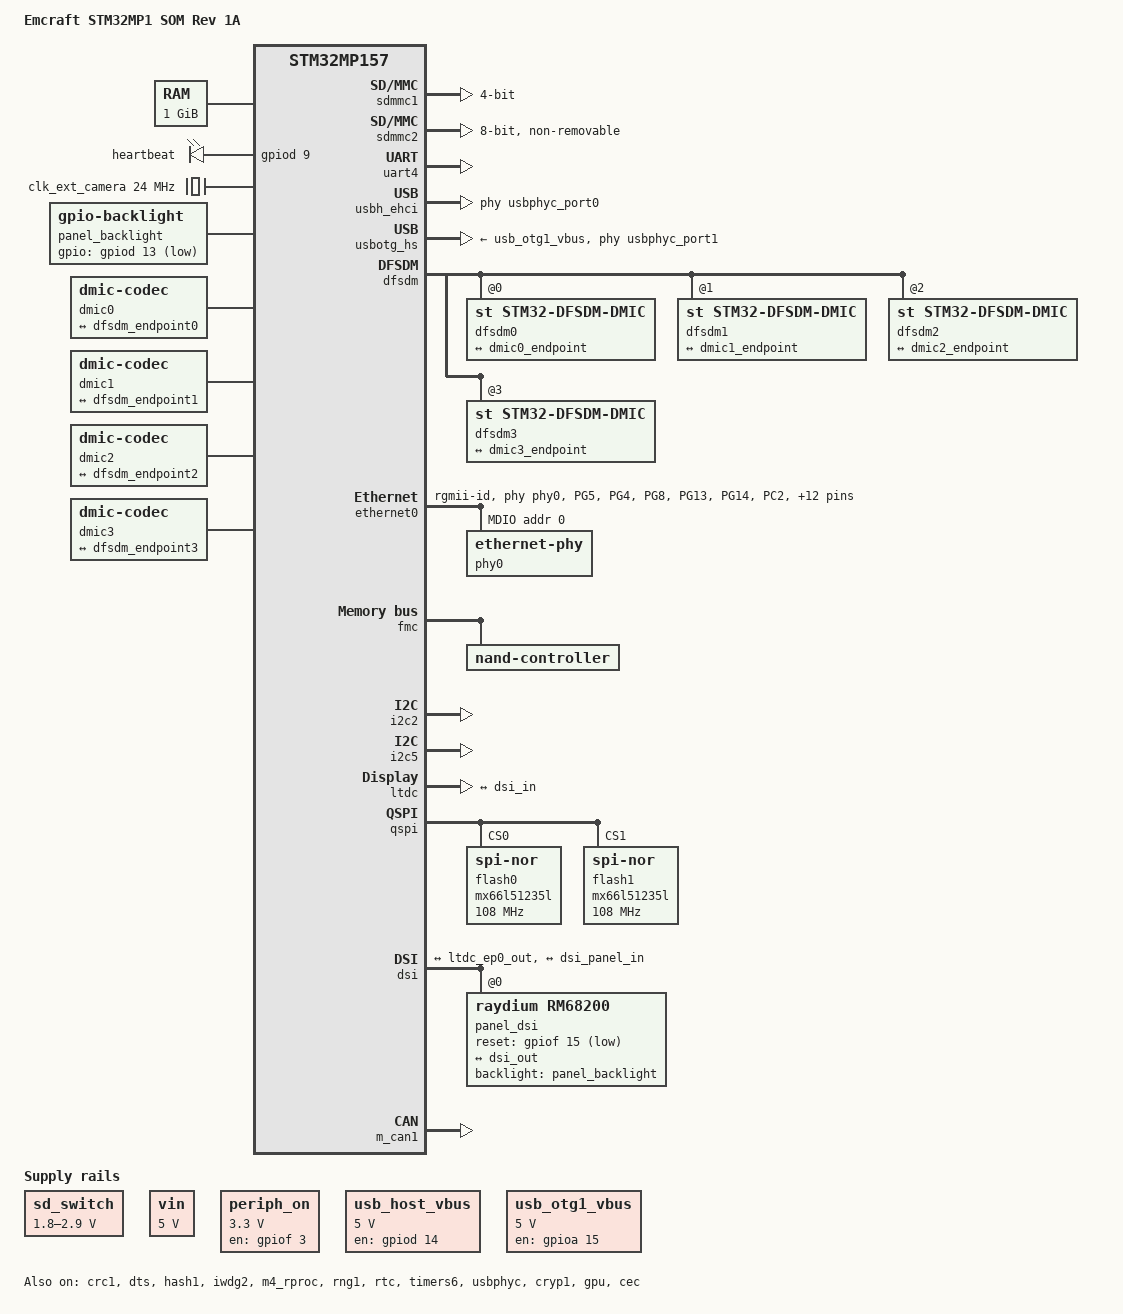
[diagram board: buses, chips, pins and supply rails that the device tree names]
// SPDX-License-Identifier: (GPL-2.0+ OR BSD-3-Clause)
/*
 * Copyright (C) STMicroelectronics 2019 - All Rights Reserved
 * Author: Alexandre Torgue <alexandre.torgue@st.com> for STMicroelectronics.
 */
/dts-v1/;

#include "stm32mp157.dtsi"
#include "stm32mp15xc.dtsi"
#include "stm32mp15-pinctrl.dtsi"
#include "stm32mp15xxaa-pinctrl.dtsi"
#include "stm32mp157-m4-srm.dtsi"
#include "stm32mp157-m4-srm-pinctrl.dtsi"
#include <dt-bindings/gpio/gpio.h>
#include <dt-bindings/mfd/st,stpmic1.h>
#include <dt-bindings/input/input.h>
#include <dt-bindings/soc/stm32-hdp.h>

/ {
	model = "Emcraft STM32MP1 SOM Rev 1A";
	compatible = "st,stm32mp1-som", "st,stm32mp157c-ev1", "st,stm32mp157c-ed1", "st,stm32mp157";

	chosen {
		stdout-path = "serial0:115200n8";
	};

	aliases {
		serial1 = &usart3;
		ethernet0 = &ethernet0;
	};

	aliases {
		serial0 = &uart4;
	};

	reserved-memory {
		gpu_reserved: gpu@f6000000 {
			reg = <0xf6000000 0x8000000>;
			no-map;
		};
	};

	memory@c0000000 {
		device_type = "memory";
		reg = <0xC0000000 0x40000000>;
	};

	reserved-memory {
		#address-cells = <1>;
		#size-cells = <1>;
		ranges;

		mcuram2: mcuram2@10000000 {
			compatible = "shared-dma-pool";
			reg = <0x10000000 0x40000>;
			no-map;
		};

		vdev0vring0: vdev0vring0@10040000 {
			compatible = "shared-dma-pool";
			reg = <0x10040000 0x1000>;
			no-map;
		};

		vdev0vring1: vdev0vring1@10041000 {
			compatible = "shared-dma-pool";
			reg = <0x10041000 0x1000>;
			no-map;
		};

		vdev0buffer: vdev0buffer@10042000 {
			compatible = "shared-dma-pool";
			reg = <0x10042000 0x4000>;
			no-map;
		};

		mcuram: mcuram@30000000 {
			compatible = "shared-dma-pool";
			reg = <0x30000000 0x40000>;
			no-map;
		};

		retram: retram@38000000 {
			compatible = "shared-dma-pool";
			reg = <0x38000000 0x10000>;
			no-map;
		};
	};

	led {
		compatible = "gpio-leds";
		blue {
			label = "heartbeat";
			gpios = <&gpiod 9 GPIO_ACTIVE_HIGH>;
			linux,default-trigger = "heartbeat";
			default-state = "off";
		};
	};

	sd_switch: regulator-sd_switch {
		compatible = "regulator-gpio";
		regulator-name = "sd_switch";
		regulator-min-microvolt = <1800000>;
		regulator-max-microvolt = <2900000>;
		regulator-type = "voltage";
		regulator-always-on;

		gpios = <&gpiof 14 GPIO_ACTIVE_HIGH>;
		gpios-states = <0>;
		states = <1800000 0x1 2900000 0x0>;
	};

	vin: vin {
		compatible = "regulator-fixed";
		regulator-name = "vin";
		regulator-min-microvolt = <5000000>;
		regulator-max-microvolt = <5000000>;
		regulator-always-on;
	};

	clocks {
		clk_ext_camera: clk-ext-camera {
			#clock-cells = <0>;
			compatible = "fixed-clock";
			clock-frequency = <24000000>;
		};
	};

	panel_backlight: panel-backlight {
		compatible = "gpio-backlight";
		gpios = <&gpiod 13 GPIO_ACTIVE_LOW>;
		default-on;
		status = "okay";
	};


	dmic0: dmic-0 {
		compatible = "dmic-codec";
		#sound-dai-cells = <1>;
		sound-name-prefix = "dmic0";
		status = "okay";

		port {
			dmic0_endpoint: endpoint {
				remote-endpoint = <&dfsdm_endpoint0>;
			};
		};
	};

	dmic1: dmic-1 {
		compatible = "dmic-codec";
		#sound-dai-cells = <1>;
		sound-name-prefix = "dmic1";
		status = "okay";

		port {
			dmic1_endpoint: endpoint {
				remote-endpoint = <&dfsdm_endpoint1>;
			};
		};
	};

	dmic2: dmic-2 {
		compatible = "dmic-codec";
		#sound-dai-cells = <1>;
		sound-name-prefix = "dmic2";
		status = "okay";

		port {
			dmic2_endpoint: endpoint {
				remote-endpoint = <&dfsdm_endpoint2>;
			};
		};
	};

	dmic3: dmic-3 {
		compatible = "dmic-codec";
		#sound-dai-cells = <1>;
		sound-name-prefix = "dmic3";
		status = "okay";

		port {
			dmic3_endpoint: endpoint {
				remote-endpoint = <&dfsdm_endpoint3>;
			};
		};
	};

	usb_phy_tuning: usb-phy-tuning {
		st,hs-dc-level = <2>;
		st,fs-rftime-tuning;
		st,hs-rftime-reduction;
		st,hs-current-trim = <15>;
		st,hs-impedance-trim = <1>;
		st,squelch-level = <3>;
		st,hs-rx-offset = <2>;
		st,no-lsfs-sc;
	};

	regulators {
		compatible = "simple-bus";
		#address-cells = <1>;
		#size-cells = <0>;
		pinctrl-0 = <&periph_on_pin>;
		pinctrl-names = "default";

		periph_on: periph_on-regulator {
			compatible = "regulator-fixed";
			reg = <1>;
			regulator-name = "periph_on";
			regulator-min-microvolt = <3300000>;
			regulator-max-microvolt = <3300000>;
			startup-delay-us = <2000000>;
			enable-active-high;
			regulator-always-on;
			regulator-boot-on;
			gpio = <&gpiof 3 GPIO_ACTIVE_HIGH>;
		};

		usb_host_vbus: usb-host-regulator {
			compatible = "regulator-fixed";
			reg = <1>;
			regulator-name = "usb_host_vbus";
			regulator-min-microvolt = <5000000>;
			regulator-max-microvolt = <5000000>;
			gpio = <&gpiod 14 GPIO_ACTIVE_HIGH>;
			enable-active-high;
                };

		usb_otg1_vbus: usb-otg1-regulator {
			compatible = "regulator-fixed";
			reg = <1>;
			regulator-name = "usb_otg1_vbus";
			regulator-min-microvolt = <5000000>;
			regulator-max-microvolt = <5000000>;
			gpio = <&gpioa 15 GPIO_ACTIVE_HIGH>;
			enable-active-high;
		};
	};
};

&adc {
	/* ANA0, ANA1 are dedicated pins and don't need pinctrl: only in6. */
	pinctrl-0 = <&adc1_in6_pins_a>;
	pinctrl-names = "default";
	status = "disabled";
	adc1: adc@0 {
		st,adc-channels = <0 1 6>;
		/* 16.5 ck_cycles sampling time */
		st,min-sample-time-nsecs = <400>;
		status = "okay";
	};
};

&crc1 {
	status = "okay";
};

&dac {
	pinctrl-names = "default";
	pinctrl-0 = <&dac_ch1_pins_a &dac_ch2_pins_a>;
	status = "disabled";
	dac1: dac@1 {
		status = "okay";
	};
	dac2: dac@2 {
		status = "okay";
	};
};

&dma1 {
	sram = <&dma_pool>;
};

&dma2 {
	sram = <&dma_pool>;
};

&dts {
	status = "okay";
};

&hash1 {
	status = "okay";
};

&ipcc {
	status = "okay";
};

&iwdg2 {
	timeout-sec = <32>;
	status = "okay";
};

&m4_rproc {
	memory-region = <&retram>, <&mcuram>, <&mcuram2>, <&vdev0vring0>,
			<&vdev0vring1>, <&vdev0buffer>;
	mboxes = <&ipcc 0>, <&ipcc 1>, <&ipcc 2>;
	mbox-names = "vq0", "vq1", "shutdown";
	interrupt-parent = <&exti>;
	interrupts = <68 1>;
	wakeup-source;
	status = "okay";
};

&pwr_regulators {
	vdd-supply = <&periph_on>;
	vdd_3v3_usbfs-supply = <&periph_on>;
};

&rng1 {
	status = "okay";
};

&rtc {
	status = "okay";
};


&sdmmc1_b4_pins_a {
		  pins1 {
			slew-rate = <0>;
			bias-pull-up;
			/delete-property/bias-disable;
		  };
		  pins2 {
			slew-rate = <0>;
			bias-pull-up;
			/delete-property/bias-disable;
		  };
};

&sdmmc1 {
	pinctrl-names = "default", "opendrain", "sleep";
	pinctrl-0 = <&sdmmc1_b4_pins_a &sdmmc1_dir_pins_a>;
	pinctrl-1 = <&sdmmc1_b4_od_pins_a &sdmmc1_dir_pins_a>;
	pinctrl-2 = <&sdmmc1_b4_sleep_pins_a &sdmmc1_dir_sleep_pins_a>;

	broken-cd;
	disable-wp;
	st,sig-dir;
	st,neg-edge;
	bus-width = <4>;
	sd-uhs-sdr12;
	sd-uhs-sdr25;
	sd-uhs-sdr50;
	sd-uhs-ddr50;
	sd-uhs-sdr104;
	status = "okay";
};

&sdmmc2 {
	pinctrl-names = "default", "opendrain", "sleep";
	pinctrl-0 = <&sdmmc2_b4_pins_a &sdmmc2_d47_pins_a>;
	pinctrl-1 = <&sdmmc2_b4_od_pins_a &sdmmc2_d47_pins_a>;
	pinctrl-2 = <&sdmmc2_b4_sleep_pins_a &sdmmc2_d47_sleep_pins_a>;
	non-removable;
	no-sd;
	no-sdio;
	st,neg-edge;
	bus-width = <8>;
	mmc-ddr-3_3v;
	status = "okay";
};

&sram {
	dma_pool: dma_pool@0 {
		reg = <0x50000 0x10000>;
		pool;
	};
};

&timers6 {
	status = "okay";
	/* spare dmas for other usage */
	/delete-property/dmas;
	/delete-property/dma-names;
	timer@5 {
		status = "okay";
	};
};

&uart4 {
	pinctrl-names = "default", "sleep", "idle";
	pinctrl-0 = <&uart4_pins_a>;
	pinctrl-1 = <&uart4_sleep_pins_a>;
	pinctrl-2 = <&uart4_idle_pins_a>;
	/delete-property/dmas;
	/delete-property/dma-names;
	status = "okay";
};

&usbh_ehci {
	phys = <&usbphyc_port0>;
	status = "okay";
};


&usbotg_hs {
	pinctrl-0 = <&usbotg_hs_pins_a>;
	pinctrl-names = "default";
	phys = <&usbphyc_port1 0>;
	usb-role-switch;
	vbus-supply = <&usb_otg1_vbus>;
	phy-names = "usb2-phy";
	status = "okay";
};

&usbphyc {
	status = "okay";
};

&usbphyc_port0 {
	st,phy-tuning = <&usb_phy_tuning>;
};

&usbphyc_port1 {
	st,phy-tuning = <&usb_phy_tuning>;
};

&cryp1 {
	status="okay";
};

&gpu {
	contiguous-area = <&gpu_reserved>;
	status = "okay";
};


&cec {
	pinctrl-names = "default";
	pinctrl-0 = <&cec_pins_a>;
	status = "okay";
};

&dfsdm {
	pinctrl-names = "default", "sleep";
	pinctrl-0 = <&dfsdm_clkout_pins_a
		     &dfsdm_data1_pins_a &dfsdm_data3_pins_a>;
	pinctrl-1 = <&dfsdm_clkout_sleep_pins_a
		     &dfsdm_data1_sleep_pins_a &dfsdm_data3_sleep_pins_a>;
	spi-max-frequency = <2048000>;

	clocks = <&rcc DFSDM_K>, <&rcc ADFSDM_K>;
	clock-names = "dfsdm", "audio";
	status = "okay";

	dfsdm0: filter@0 {
		compatible = "st,stm32-dfsdm-dmic";
		st,adc-channels = <3>;
		st,adc-channel-names = "dmic_u1";
		st,adc-channel-types = "SPI_R";
		st,adc-channel-clk-src = "CLKOUT";
		st,filter-order = <3>;
		status = "okay";

		asoc_pdm0: dfsdm-dai {
			compatible = "st,stm32h7-dfsdm-dai";
			#sound-dai-cells = <0>;
			io-channels = <&dfsdm0 0>;
			status = "okay";

			dfsdm0_port: port {
				dfsdm_endpoint0: endpoint {
					remote-endpoint = <&dmic0_endpoint>;
				};
			};
		};
	};

	dfsdm1: filter@1 {
		compatible = "st,stm32-dfsdm-dmic";
		st,adc-channels = <0>;
		st,adc-channel-names = "dmic_u2";
		st,adc-channel-types = "SPI_F";
		st,adc-channel-clk-src = "CLKOUT";
		st,filter-order = <3>;
		st,adc-alt-channel = <1>;
		status = "okay";

		asoc_pdm1: dfsdm-dai {
			compatible = "st,stm32h7-dfsdm-dai";
			#sound-dai-cells = <0>;
			io-channels = <&dfsdm1 0>;
			status = "okay";

			dfsdm1_port: port {
				dfsdm_endpoint1: endpoint {
					remote-endpoint = <&dmic1_endpoint>;
				};
			};
		};
	};

	dfsdm2: filter@2 {
		compatible = "st,stm32-dfsdm-dmic";
		st,adc-channels = <2>;
		st,adc-channel-names = "dmic_u3";
		st,adc-channel-types = "SPI_F";
		st,adc-channel-clk-src = "CLKOUT";
		st,adc-alt-channel = <1>;
		st,filter-order = <3>;
		status = "okay";

		asoc_pdm2: dfsdm-dai {
			compatible = "st,stm32h7-dfsdm-dai";
			#sound-dai-cells = <0>;
			io-channels = <&dfsdm2 0>;
			status = "okay";

			dfsdm2_port: port {
				dfsdm_endpoint2: endpoint {
					remote-endpoint = <&dmic2_endpoint>;
				};
			};
		};
	};

	dfsdm3: filter@3 {
		compatible = "st,stm32-dfsdm-dmic";
		st,adc-channels = <1>;
		st,adc-channel-names = "dmic_u4";
		st,adc-channel-types = "SPI_R";
		st,adc-channel-clk-src = "CLKOUT";
		st,filter-order = <3>;
		status = "okay";

		asoc_pdm3: dfsdm-dai {
			compatible = "st,stm32h7-dfsdm-dai";
			#sound-dai-cells = <0>;
			io-channels = <&dfsdm3 0>;
			status = "okay";

			dfsdm3_port: port {
				dfsdm_endpoint3: endpoint {
					remote-endpoint = <&dmic3_endpoint>;
				};
			};
		};
	};
};

&ethernet0 {
	status = "okay";
	pinctrl-0 = <&ethernet0_rgmii_pins_a>;
	pinctrl-1 = <&ethernet0_rgmii_pins_sleep_a>;
	pinctrl-names = "default", "sleep";
	phy-mode = "rgmii-id";
	max-speed = <1000>;
	phy-handle = <&phy0>;
	nvmem-cells = <&ethernet_mac_address>;
	nvmem-cell-names = "mac-address";
	phy-reset-gpios = <&gpiod 11 GPIO_ACTIVE_HIGH>;
	st,int-phyclk;

	mdio0 {
		#address-cells = <1>;
		#size-cells = <0>;
		compatible = "snps,dwmac-mdio";
		phy0: ethernet-phy@0 {
			reg = <0>;
		};
	};
};

&fmc {
	pinctrl-names = "default", "sleep";
	pinctrl-0 = <&fmc_pins_a>;
	pinctrl-1 = <&fmc_sleep_pins_a>;
	status = "okay";

	nand-controller@4,0 {
		status = "okay";

		nand@0 {
			reg = <0>;
			nand-on-flash-bbt;
			#address-cells = <1>;
			#size-cells = <1>;
		};
	};
};

&hdp {
	pinctrl-names = "default", "sleep";
	pinctrl-0 = <&hdp0_pins_a &hdp6_pins_a &hdp7_pins_a>;
	pinctrl-1 = <&hdp0_pins_sleep_a &hdp6_pins_sleep_a &hdp7_pins_sleep_a>;
	status = "disabled";

	muxing-hdp = <(STM32_HDP(0, HDP0_GPOVAL_0) |
		       STM32_HDP(6, HDP6_GPOVAL_6) |
		       STM32_HDP(7, HDP7_GPOVAL_7))>;
};

&i2c2 {
	pinctrl-names = "default", "sleep";
	pinctrl-0 = <&i2c2_pins_a>;
	pinctrl-1 = <&i2c2_pins_sleep_a>;
	i2c-scl-rising-time-ns = <185>;
	i2c-scl-falling-time-ns = <20>;
	status = "okay";
	/delete-property/dmas;
	/delete-property/dma-names;
};

&i2c5 {
	pinctrl-names = "default", "sleep";
	pinctrl-0 = <&i2c5_pins_a>;
	pinctrl-1 = <&i2c5_pins_sleep_a>;
	i2c-scl-rising-time-ns = <185>;
	i2c-scl-falling-time-ns = <20>;
	/delete-property/dmas;
	/delete-property/dma-names;
	status = "okay";
};

&ltdc {
	status = "okay";

	port {
		#address-cells = <1>;
		#size-cells = <0>;

		ltdc_ep0_out: endpoint@0 {
			reg = <0>;
			remote-endpoint = <&dsi_in>;
		};
	};
};

&qspi {
	pinctrl-names = "default", "sleep";
	pinctrl-0 = <&qspi_clk_pins_a &qspi_bk1_pins_a &qspi_bk2_pins_a>;
	pinctrl-1 = <&qspi_clk_sleep_pins_a &qspi_bk1_sleep_pins_a &qspi_bk2_sleep_pins_a>;
	reg = <0x58003000 0x1000>, <0x70000000 0x4000000>;
	#address-cells = <1>;
	#size-cells = <0>;
	status = "okay";

	flash0: mx66l51235l@0 {
		compatible = "jedec,spi-nor";
		reg = <0>;
		spi-rx-bus-width = <4>;
		spi-max-frequency = <108000000>;
		#address-cells = <1>;
		#size-cells = <1>;
	};

	flash1: mx66l51235l@1 {
		compatible = "jedec,spi-nor";
		reg = <1>;
		spi-rx-bus-width = <4>;
		spi-max-frequency = <108000000>;
		#address-cells = <1>;
		#size-cells = <1>;
	};
};

&sdmmc3 {
	pinctrl-names = "default", "opendrain", "sleep";
	pinctrl-0 = <&sdmmc3_b4_pins_a>;
	pinctrl-1 = <&sdmmc3_b4_od_pins_a>;
	pinctrl-2 = <&sdmmc3_b4_sleep_pins_a>;
	broken-cd;
	st,neg-edge;
	bus-width = <4>;
	status = "disabled";
};

&spi1 {
	pinctrl-names = "default", "sleep";
	pinctrl-0 = <&spi1_pins_a>;
	pinctrl-1 = <&spi1_sleep_pins_a>;
	status = "disabled";
};

&timers2 {
	/* spare dmas for other usage (un-delete to enable pwm capture) */
	/delete-property/dmas;
	/delete-property/dma-names;
	status = "disabled";
	pwm {
		pinctrl-0 = <&pwm2_pins_a>;
		pinctrl-1 = <&pwm2_sleep_pins_a>;
		pinctrl-names = "default", "sleep";
		status = "okay";
	};
	timer@1 {
		status = "okay";
	};
};

&timers8 {
	/delete-property/dmas;
	/delete-property/dma-names;
	status = "disabled";
	pwm {
		pinctrl-0 = <&pwm8_pins_a>;
		pinctrl-1 = <&pwm8_sleep_pins_a>;
		pinctrl-names = "default", "sleep";
		status = "okay";
	};
	timer@7 {
		status = "okay";
	};
};

&timers12 {
	/delete-property/dmas;
	/delete-property/dma-names;
	status = "disabled";
	pwm {
		pinctrl-0 = <&pwm12_pins_a>;
		pinctrl-1 = <&pwm12_sleep_pins_a>;
		pinctrl-names = "default", "sleep";
		status = "okay";
	};
	timer@11 {
		status = "okay";
	};
};

&usart3 {
	pinctrl-names = "default", "sleep", "idle";
	pinctrl-0 = <&usart3_pins_a>;
	pinctrl-1 = <&usart3_sleep_pins_a>;
	pinctrl-2 = <&usart3_idle_pins_a>;
	uart-has-rtscts;
	status = "disabled";
};

&dsi {
	#address-cells = <1>;
	#size-cells = <0>;
	status = "okay";

	ports {
		#address-cells = <1>;
		#size-cells = <0>;

		port@0 {
			reg = <0>;
			dsi_in: endpoint {
				remote-endpoint = <&ltdc_ep0_out>;
			};
		};

		port@1 {
			reg = <1>;
			dsi_out: endpoint {
				remote-endpoint = <&dsi_panel_in>;
			};
		};
	};

	panel_dsi: panel-dsi@0 {
		compatible = "raydium,rm68200";
		reg = <0>;
		reset-gpios = <&gpiof 15 GPIO_ACTIVE_LOW>;
		backlight = <&panel_backlight>;
		status = "okay";

		port {
			dsi_panel_in: endpoint {
				remote-endpoint = <&dsi_out>;
			};
		};
	};
};

&m_can1 {
	pinctrl-names = "default", "sleep";
	pinctrl-0 = <&m_can1_pins_a>;
	pinctrl-1 = <&m_can1_sleep_pins_a>;
	status = "okay";
};


&pinctrl {
	ethernet0_rgmii_pins_a: rgmii-0 {
		pins1 {
			pinmux = <STM32_PINMUX('G', 5, AF11)>, /* ETH_RGMII_CLK125 */
			<STM32_PINMUX('G', 4, AF11)>, /* ETH_RGMII_GTX_CLK */
			<STM32_PINMUX('G', 8, AF2)>, /* ETH_CLK */
			<STM32_PINMUX('G', 13, AF11)>, /* ETH_RGMII_TXD0 */
			<STM32_PINMUX('G', 14, AF11)>, /* ETH_RGMII_TXD1 */
			<STM32_PINMUX('C', 2, AF11)>, /* ETH_RGMII_TXD2 */
			<STM32_PINMUX('E', 2, AF11)>, /* ETH_RGMII_TXD3 */
			<STM32_PINMUX('B', 11, AF11)>, /* ETH_RGMII_TX_CTL */
			<STM32_PINMUX('A', 2, AF11)>, /* ETH_MDIO */
			<STM32_PINMUX('C', 1, AF11)>; /* ETH_MDC */
			bias-disable;
			drive-push-pull;
			slew-rate = <3>;
		};
		pins2 {
			pinmux = <STM32_PINMUX('C', 4, AF11)>, /* ETH_RGMII_RXD0 */
			<STM32_PINMUX('C', 5, AF11)>, /* ETH_RGMII_RXD1 */
			<STM32_PINMUX('B', 0, AF11)>, /* ETH_RGMII_RXD2 */
			<STM32_PINMUX('B', 1, AF11)>, /* ETH_RGMII_RXD3 */
			<STM32_PINMUX('A', 1, AF11)>, /* ETH_RGMII_RX_CLK */
			<STM32_PINMUX('A', 7, AF11)>; /* ETH_RGMII_RX_CTL */
			bias-disable;
		};
		pins3 {
			pinmux = <STM32_PINMUX('D', 11, GPIO)>; /* PHY reset */
			drive-push-pull;
			bias-pull-up;
			output-high;
			slew-rate = <0>;
		};
	};

	ethernet0_rgmii_pins_sleep_a: rgmii-sleep-0 {
		pins1 {
			pinmux = <STM32_PINMUX('G', 5, ANALOG)>, /* ETH_RGMII_CLK125 */
			<STM32_PINMUX('G', 4, ANALOG)>, /* ETH_RGMII_GTX_CLK */
			<STM32_PINMUX('G', 8, ANALOG)>, /* ETH_CLK */
			<STM32_PINMUX('G', 13, ANALOG)>, /* ETH_RGMII_TXD0 */
			<STM32_PINMUX('G', 14, ANALOG)>, /* ETH_RGMII_TXD1 */
			<STM32_PINMUX('C', 2, ANALOG)>, /* ETH_RGMII_TXD2 */
			<STM32_PINMUX('E', 2, ANALOG)>, /* ETH_RGMII_TXD3 */
			<STM32_PINMUX('B', 11, ANALOG)>, /* ETH_RGMII_TX_CTL */
			<STM32_PINMUX('A', 2, ANALOG)>, /* ETH_MDIO */
			<STM32_PINMUX('C', 1, ANALOG)>, /* ETH_MDC */
			<STM32_PINMUX('C', 4, ANALOG)>, /* ETH_RGMII_RXD0 */
			<STM32_PINMUX('C', 5, ANALOG)>, /* ETH_RGMII_RXD1 */
			<STM32_PINMUX('B', 0, ANALOG)>, /* ETH_RGMII_RXD2 */
			<STM32_PINMUX('B', 1, ANALOG)>, /* ETH_RGMII_RXD3 */
			<STM32_PINMUX('A', 1, ANALOG)>, /* ETH_RGMII_RX_CLK */
			<STM32_PINMUX('A', 7, ANALOG)>, /* ETH_RGMII_RX_CTL */
			<STM32_PINMUX('D', 11, ANALOG)>; /* PHY reset */
		};
	};

	periph_on_pin: periph-on-0 {
		pins {
			pinmux = <STM32_PINMUX('F', 3, GPIO)>, /* PERIPH_ON */
			<STM32_PINMUX('D', 14, GPIO)>, /* USB_HOST_PWR_ON */
			<STM32_PINMUX('A', 15, GPIO)>; /* USB_OTG1_PWR */
			drive-push-pull;
			bias-pull-up;
			output-high;
			slew-rate = <0>;
		};
	};
};
